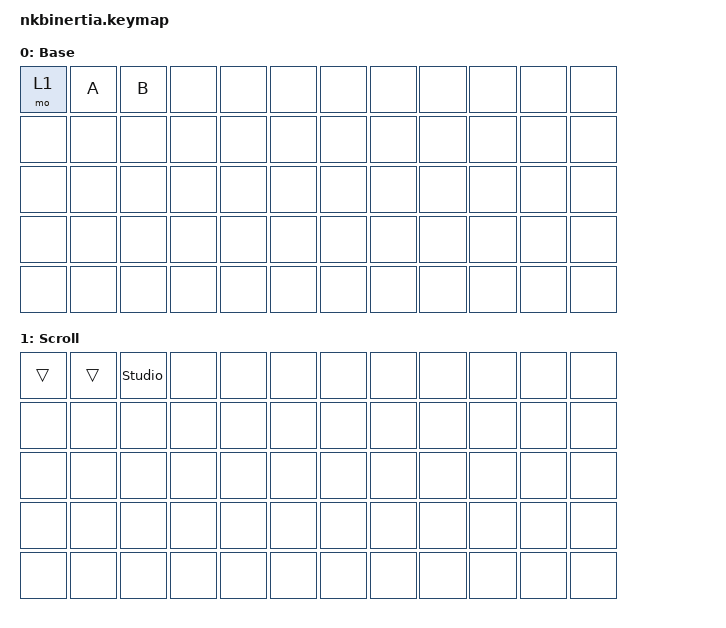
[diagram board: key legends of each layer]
/* Inertia scroll test. base: key0 hold = scroll layer, key1/2 = A/B.
   scroll layer(1): trackball = momentum scroll (vertical; Shift = horizontal). */
#include <behaviors.dtsi>
#include <dt-bindings/zmk/keys.h>

/ {
    keymap {
        compatible = "zmk,keymap";
        base {
            display-name = "Base";
            bindings = <
   &mo 1  &kp A &kp B  &none &none &none   &none &none &none &none &none &none
   &none  &none &none  &none &none &none   &none &none &none &none &none &none
   &none  &none &none  &none &none &none   &none &none &none &none &none &none
   &none  &none &none  &none &none &none   &none &none &none &none &none &none
   &none  &none &none  &none &none &none   &none &none &none &none &none &none
            >;
        };
        scroll {
            display-name = "Scroll";
            bindings = <
   &trans &trans &studio_unlock  &none &none &none   &none &none &none &none &none &none
   &none  &none  &none   &none &none &none   &none &none &none &none &none &none
   &none  &none  &none   &none &none &none   &none &none &none &none &none &none
   &none  &none  &none   &none &none &none   &none &none &none &none &none &none
   &none  &none  &none   &none &none &none   &none &none &none &none &none &none
            >;
        };
    };
};
